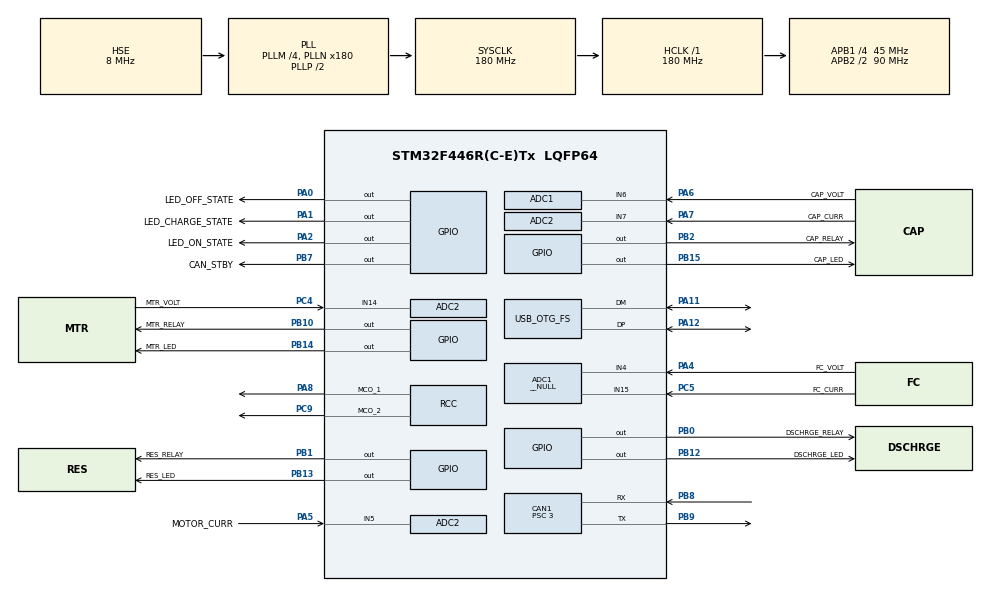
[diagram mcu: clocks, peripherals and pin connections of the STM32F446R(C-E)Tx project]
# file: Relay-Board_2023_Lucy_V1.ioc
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ADC1.Channel-0\#ChannelRegularConversion=ADC_CHANNEL_4
ADC1.Channel-1\#ChannelRegularConversion=ADC_CHANNEL_6
ADC1.Channel-2\#ChannelRegularConversion=ADC_CHANNEL_15
ADC1.ClockPrescaler=ADC_CLOCK_SYNC_PCLK_DIV4
ADC1.ContinuousConvMode=DISABLE
ADC1.DMAContinuousRequests=DISABLE
ADC1.EOCSelection=ADC_EOC_SINGLE_CONV
ADC1.Mode=__NULL
ADC1.NbrOfConversion=3
ADC1.NbrOfConversionFlag=1
ADC1.Rank-0\#ChannelRegularConversion=1
ADC1.Rank-1\#ChannelRegularConversion=2
ADC1.Rank-2\#ChannelRegularConversion=3
ADC1.SamplingTime-0\#ChannelRegularConversion=ADC_SAMPLETIME_480CYCLES
ADC1.SamplingTime-1\#ChannelRegularConversion=ADC_SAMPLETIME_480CYCLES
ADC1.SamplingTime-2\#ChannelRegularConversion=ADC_SAMPLETIME_480CYCLES
ADC1.ScanConvMode=ENABLE
ADC1.master=1
ADC2.Channel-0\#ChannelRegularConversion=ADC_CHANNEL_5
ADC2.Channel-1\#ChannelRegularConversion=ADC_CHANNEL_7
ADC2.Channel-2\#ChannelRegularConversion=ADC_CHANNEL_14
ADC2.ClockPrescaler=ADC_CLOCK_SYNC_PCLK_DIV4
ADC2.ContinuousConvMode=DISABLE
ADC2.NbrOfConversion=3
ADC2.NbrOfConversionFlag=1
ADC2.Rank-0\#ChannelRegularConversion=1
ADC2.Rank-1\#ChannelRegularConversion=2
ADC2.Rank-2\#ChannelRegularConversion=3
ADC2.SamplingTime-0\#ChannelRegularConversion=ADC_SAMPLETIME_3CYCLES
ADC2.SamplingTime-1\#ChannelRegularConversion=ADC_SAMPLETIME_3CYCLES
ADC2.SamplingTime-2\#ChannelRegularConversion=ADC_SAMPLETIME_3CYCLES
ADC2.ScanConvMode=ENABLE
CAN1.BS1=CAN_BS1_10TQ
CAN1.BS2=CAN_BS2_4TQ
CAN1.CalculateBaudRate=1000000
CAN1.CalculateTimeBit=1000
CAN1.CalculateTimeQuantum=66.66666666666666
CAN1.Mode=CAN_MODE_NORMAL
CAN1.Prescaler=3
Dma.ADC1.1.Direction=DMA_PERIPH_TO_MEMORY
Dma.ADC1.1.FIFOMode=DMA_FIFOMODE_DISABLE
Dma.ADC1.1.Instance=DMA2_Stream0
Dma.ADC1.1.MemDataAlignment=DMA_MDATAALIGN_HALFWORD
Dma.ADC1.1.MemInc=DMA_MINC_ENABLE
Dma.ADC1.1.Mode=DMA_CIRCULAR
Dma.ADC1.1.PeriphDataAlignment=DMA_PDATAALIGN_HALFWORD
Dma.ADC1.1.PeriphInc=DMA_PINC_DISABLE
Dma.ADC1.1.Priority=DMA_PRIORITY_LOW
Dma.ADC2.0.Direction=DMA_PERIPH_TO_MEMORY
Dma.ADC2.0.FIFOMode=DMA_FIFOMODE_DISABLE
Dma.ADC2.0.Instance=DMA2_Stream2
Dma.ADC2.0.MemDataAlignment=DMA_MDATAALIGN_HALFWORD
Dma.ADC2.0.MemInc=DMA_MINC_ENABLE
Dma.ADC2.0.Mode=DMA_CIRCULAR
Dma.ADC2.0.PeriphDataAlignment=DMA_PDATAALIGN_HALFWORD
Dma.ADC2.0.PeriphInc=DMA_PINC_DISABLE
Dma.ADC2.0.Priority=DMA_PRIORITY_LOW
Dma.Request0=ADC2
Dma.Request1=ADC1
FREERTOS.BinarySemaphores01=canMsgReceivedSem,Dynamic,NULL
FREERTOS.HEAP_NUMBER=4
FREERTOS.Queues01=canRxRtrMsgQueue,128,uint32_t,0,Static,canRxRtrMsgQueueBuffer,canRxRtrMsgQueueControlBlock;canRxDataMsgQueue,16,uint16_t,0,Static,canRxDataMsgQueueBuffer,canRxDataMsgQueueControlBlock
FREERTOS.Tasks01=RelayTask,24,256,StartRelayTask,Default,NULL,Static,RelayTaskBuffer,RelayTaskControlBlock;CanRtrTask,24,256,StartCanRtrTask,Default,NULL,Static,CanRtrTaskBuffer,CanRtrTaskControlBlock;AdcTask,24,256,StartAdcTask,Default,NULL,Static,AdcTaskBuffer,AdcTaskControlBlock;IndicateLedTask,28,256,StartIndicateLedTask,Default,NULL,Static,IndicateLedTaskBuffer,IndicateLedTaskControlBlock;CanDataTask,28,256,StartCanDataTask,Default,NULL,Static,CanDataTaskBuffer,CanDataTaskControlBlock
FREERTOS.configENABLE_FPU=1
FREERTOS.configUSE_NEWLIB_REENTRANT=1
Mcu.Family=STM32F4
Mcu.Name=STM32F446R(C-E)Tx
Mcu.Package=LQFP64
NVIC.ADC_IRQn=true\:5\:0\:false\:false\:true\:true\:true\:true\:true
NVIC.CAN1_RX0_IRQn=true\:5\:0\:false\:false\:true\:true\:true\:true\:true
NVIC.CAN1_RX1_IRQn=true\:5\:0\:false\:false\:true\:true\:true\:true\:true
NVIC.CAN1_TX_IRQn=true\:5\:0\:false\:false\:true\:true\:true\:true\:true
NVIC.DMA2_Stream0_IRQn=true\:5\:0\:false\:false\:true\:true\:false\:true\:true
NVIC.DMA2_Stream2_IRQn=true\:5\:0\:false\:false\:true\:true\:false\:true\:true
NVIC.OTG_FS_IRQn=true\:5\:0\:false\:false\:true\:true\:false\:true\:true
NVIC.PriorityGroup=NVIC_PRIORITYGROUP_4
NVIC.TIM1_UP_TIM10_IRQn=true\:15\:0\:false\:false\:true\:false\:false\:true\:true
NVIC.TimeBase=TIM1_UP_TIM10_IRQn
NVIC.TimeBaseIP=TIM1
PA0-WKUP.GPIO_Label=LED_OFF_STATE
PA0-WKUP.Signal=GPIO_Output
PA1.GPIO_Label=LED_CHARGE_STATE
PA1.Signal=GPIO_Output
PA11.Mode=Device_Only
PA11.Signal=USB_OTG_FS_DM
PA12.Mode=Device_Only
PA12.Signal=USB_OTG_FS_DP
PA13.Mode=Serial_Wire
PA13.Signal=SYS_JTMS-SWDIO
PA14.Mode=Serial_Wire
PA14.Signal=SYS_JTCK-SWCLK
PA2.GPIO_Label=LED_ON_STATE
PA2.Signal=GPIO_Output
PA4.GPIO_Label=FC_VOLT
PA4.Signal=ADCx_IN4
PA5.GPIO_Label=MOTOR_CURR
PA5.Signal=ADCx_IN5
PA6.GPIO_Label=CAP_VOLT
PA6.Signal=ADCx_IN6
PA7.GPIO_Label=CAP_CURR
PA7.Signal=ADCx_IN7
PA8.Mode=Clock-out-1
PA8.Signal=RCC_MCO_1
PB0.GPIO_Label=DSCHRGE_RELAY
PB0.Signal=GPIO_Output
PB1.GPIO_Label=RES_RELAY
PB1.Signal=GPIO_Output
PB10.GPIO_Label=MTR_RELAY
PB10.Signal=GPIO_Output
PB12.GPIO_Label=DSCHRGE_LED
PB12.Signal=GPIO_Output
PB13.GPIO_Label=RES_LED
PB13.Signal=GPIO_Output
PB14.GPIO_Label=MTR_LED
PB14.Signal=GPIO_Output
PB15.GPIO_Label=CAP_LED
PB15.Signal=GPIO_Output
PB2.GPIO_Label=CAP_RELAY
PB2.Signal=GPIO_Output
PB7.GPIO_Label=CAN_STBY
PB7.Signal=GPIO_Output
PB8.GPIO_PuPd=GPIO_PULLUP
PB8.Mode=CAN_Activate
PB8.Signal=CAN1_RX
PB9.GPIO_PuPd=GPIO_NOPULL
PB9.Mode=CAN_Activate
PB9.Signal=CAN1_TX
PC4.GPIO_Label=MTR_VOLT
PC4.Signal=ADCx_IN14
PC5.GPIO_Label=FC_CURR
PC5.Signal=ADCx_IN15
PC9.Mode=Clock-out-2
PC9.Signal=RCC_MCO_2
PH0-OSC_IN.Mode=HSE-External-Clock-Source
PH0-OSC_IN.Signal=RCC_OSC_IN
PH1-OSC_OUT.Mode=HSE-External-Clock-Source
PH1-OSC_OUT.Signal=RCC_OSC_OUT
ProjectManager.HeapSize=0x200
ProjectManager.StackSize=0x400
ProjectManager.TargetToolchain=Makefile
RCC.AHBFreq_Value=180000000
RCC.APB1CLKDivider=RCC_HCLK_DIV4
RCC.APB1Freq_Value=45000000
RCC.APB1TimFreq_Value=90000000
RCC.APB2CLKDivider=RCC_HCLK_DIV2
RCC.APB2Freq_Value=90000000
RCC.APB2TimFreq_Value=180000000
RCC.CortexFreq_Value=180000000
RCC.HCLKFreq_Value=180000000
RCC.HSE_VALUE=8000000
RCC.PLLM=4
RCC.PLLN=180
RCC.PLLQ=5
RCC.PLLSAIM=4
RCC.PLLSAIN=96
RCC.PLLSAIP=RCC_PLLSAIP_DIV4
RCC.RCC_MCO1Source=RCC_MCO1SOURCE_HSE
RCC.RCC_MCODiv2=RCC_MCODIV_5
RCC.SYSCLKFreq_VALUE=180000000
RCC.SYSCLKSource=RCC_SYSCLKSOURCE_PLLCLK
RCC.USBCLockSelection=RCC_CLK48CLKSOURCE_PLLSAIP
RCC.USBFreq_Value=48000000
RCC.VCOOutputFreq_Value=360000000
SH.ADCx_IN14.0=ADC2_IN14,IN14
SH.ADCx_IN15.0=ADC1_IN15,IN15
SH.ADCx_IN4.0=ADC1_IN4,IN4
SH.ADCx_IN5.0=ADC2_IN5,IN5
SH.ADCx_IN6.0=ADC1_IN6,IN6
SH.ADCx_IN7.0=ADC2_IN7,IN7
USB_DEVICE.CLASS_NAME_FS=CDC
USB_DEVICE.VirtualMode-CDC_FS=Cdc
USB_DEVICE.VirtualModeFS=Cdc_FS
USB_OTG_FS.VirtualMode=Device_Only
VP_FREERTOS_VS_CMSIS_V2.Mode=CMSIS_V2
VP_SYS_VS_tim1.Mode=TIM1
VP_USB_DEVICE_VS_USB_DEVICE_CDC_FS.Mode=CDC_FS
board=custom

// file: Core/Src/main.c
/* USER CODE BEGIN Header */
/**
 ******************************************************************************
 * @file           : main.c
 * @brief          : Main program body
 ******************************************************************************
 * @attention
 *
 * Copyright (c) 2024 STMicroelectronics.
 * All rights reserved.
 *
 * This software is licensed under terms that can be found in the LICENSE file
 * in the root directory of this software component.
 * If no LICENSE file comes with this software, it is provided AS-IS.
 *
 ******************************************************************************
 */
/* USER CODE END Header */
#include "main.h"
#include "cmsis_os.h"
#include "cmsis_os2.h"
#include "stm32f4xx_hal_def.h"
#include "usb_device.h"

/* USER CODE BEGIN Includes */
#include "canid.h"
#include "usbd_cdc_if.h"
#include <stdint.h>
/* USER CODE END Includes */

typedef StaticTask_t osStaticThreadDef_t;
typedef StaticQueue_t osStaticMessageQDef_t;
/* USER CODE BEGIN PTD */
typedef enum {
  ALL_RELAY_OFF = 0x00,
  CAP_RELAY = 0x01,
  RES_RELAY = 0x02,
  DSCHRGE_RELAY = 0x04,
  MTR_RELAY = 0x08,
} relayBit_t;

typedef enum {
  RELAY_STBY = ALL_RELAY_OFF,
  RELAY_STRTP = RES_RELAY | DSCHRGE_RELAY,
  RELAY_CHRGE = RES_RELAY,
  RELAY_RUN = CAP_RELAY | DSCHRGE_RELAY | MTR_RELAY,
} rbState_t;

typedef struct {
  float fc_volt;
  float fc_curr;
  float mtr_volt;
  float mtr_curr;
  float cap_volt;
  float cap_curr;
} rbData_t;

typedef struct {
  uint8_t H2_OK;
} canData_t;

/* USER CODE END PTD */

/* USER CODE BEGIN PD */
#define CAN_MESSAGE_SENT_TIMEOUT_MS 500
#define CAN_ADD_TX_TIMEOUT_MS 500

#define FULL_CAP_CHARGE_V 20

#define CAN_TX_MAILBOX_NONE 0x00000000U // Remove reference to tx mailbox
/* USER CODE END PD */

ADC_HandleTypeDef hadc1;
ADC_HandleTypeDef hadc2;
DMA_HandleTypeDef hdma_adc1;
DMA_HandleTypeDef hdma_adc2;

CAN_HandleTypeDef hcan1;

/* Definitions for RelayTask */
osThreadId_t RelayTaskHandle;
uint32_t RelayTaskBuffer[256];
osStaticThreadDef_t RelayTaskControlBlock;
const osThreadAttr_t RelayTask_attributes = {
    .name = "RelayTask",
    .cb_mem = &RelayTaskControlBlock,
    .cb_size = sizeof(RelayTaskControlBlock),
    .stack_mem = &RelayTaskBuffer[0],
    .stack_size = sizeof(RelayTaskBuffer),
    .priority = (osPriority_t)osPriorityNormal,
};
/* Definitions for CanRtrTask */
osThreadId_t CanRtrTaskHandle;
uint32_t CanRtrTaskBuffer[256];
osStaticThreadDef_t CanRtrTaskControlBlock;
const osThreadAttr_t CanRtrTask_attributes = {
    .name = "CanRtrTask",
    .cb_mem = &CanRtrTaskControlBlock,
    .cb_size = sizeof(CanRtrTaskControlBlock),
    .stack_mem = &CanRtrTaskBuffer[0],
    .stack_size = sizeof(CanRtrTaskBuffer),
    .priority = (osPriority_t)osPriorityNormal,
};
/* Definitions for AdcTask */
osThreadId_t AdcTaskHandle;
uint32_t AdcTaskBuffer[256];
osStaticThreadDef_t AdcTaskControlBlock;
const osThreadAttr_t AdcTask_attributes = {
    .name = "AdcTask",
    .cb_mem = &AdcTaskControlBlock,
    .cb_size = sizeof(AdcTaskControlBlock),
    .stack_mem = &AdcTaskBuffer[0],
    .stack_size = sizeof(AdcTaskBuffer),
    .priority = (osPriority_t)osPriorityNormal,
};
/* Definitions for IndicateLedTask */
osThreadId_t IndicateLedTaskHandle;
uint32_t IndicateLedTaskBuffer[256];
osStaticThreadDef_t IndicateLedTaskControlBlock;
const osThreadAttr_t IndicateLedTask_attributes = {
    .name = "IndicateLedTask",
    .cb_mem = &IndicateLedTaskControlBlock,
    .cb_size = sizeof(IndicateLedTaskControlBlock),
    .stack_mem = &IndicateLedTaskBuffer[0],
    .stack_size = sizeof(IndicateLedTaskBuffer),
    .priority = (osPriority_t)osPriorityNormal4,
};
/* Definitions for CanDataTask */
osThreadId_t CanDataTaskHandle;
uint32_t CanDataTaskBuffer[256];
osStaticThreadDef_t CanDataTaskControlBlock;
const osThreadAttr_t CanDataTask_attributes = {
    .name = "CanDataTask",
    .cb_mem = &CanDataTaskControlBlock,
    .cb_size = sizeof(CanDataTaskControlBlock),
    .stack_mem = &CanDataTaskBuffer[0],
    .stack_size = sizeof(CanDataTaskBuffer),
    .priority = (osPriority_t)osPriorityNormal4,
};
/* Definitions for canRxRtrMsgQueue */
osMessageQueueId_t canRxRtrMsgQueueHandle;
uint8_t canRxRtrMsgQueueBuffer[128 * sizeof(uint32_t)];
osStaticMessageQDef_t canRxRtrMsgQueueControlBlock;
const osMessageQueueAttr_t canRxRtrMsgQueue_attributes = {
    .name = "canRxRtrMsgQueue",
    .cb_mem = &canRxRtrMsgQueueControlBlock,
    .cb_size = sizeof(canRxRtrMsgQueueControlBlock),
    .mq_mem = &canRxRtrMsgQueueBuffer,
    .mq_size = sizeof(canRxRtrMsgQueueBuffer)};
/* Definitions for canRxDataMsgQueue */
osMessageQueueId_t canRxDataMsgQueueHandle;
uint8_t canRxDataMsgQueueBuffer[16 * sizeof(uint16_t)];
osStaticMessageQDef_t canRxDataMsgQueueControlBlock;
const osMessageQueueAttr_t canRxDataMsgQueue_attributes = {
    .name = "canRxDataMsgQueue",
    .cb_mem = &canRxDataMsgQueueControlBlock,
    .cb_size = sizeof(canRxDataMsgQueueControlBlock),
    .mq_mem = &canRxDataMsgQueueBuffer,
    .mq_size = sizeof(canRxDataMsgQueueBuffer)};
/* Definitions for canMsgReceivedSem */
osSemaphoreId_t canMsgReceivedSemHandle;
const osSemaphoreAttr_t canMsgReceivedSem_attributes = {
    .name = "canMsgReceivedSem"};
/* USER CODE BEGIN PV */
rbState_t rb_state = RELAY_STBY;
rbData_t relay_board_data;

volatile uint16_t adc1Results[3];
volatile uint16_t adc2Results[3];

CAN_RxHeaderTypeDef RxHeader;
uint8_t RxData[8];
uint32_t TxMailboxCanTask;
/* USER CODE END PV */

void SystemClock_Config(void);
static void MX_GPIO_Init(void);
static void MX_DMA_Init(void);
static void MX_CAN1_Init(void);
static void MX_ADC1_Init(void);
static void MX_ADC2_Init(void);
void StartRelayTask(void *argument);
void StartCanRtrTask(void *argument);
void StartAdcTask(void *argument);
void StartIndicateLedTask(void *argument);
void StartCanDataTask(void *argument);

/* USER CODE BEGIN PFP */
int _write(int file, char *ptr, int len) {
  CDC_Transmit_FS((uint8_t *)ptr, (uint16_t)len);
  return len;
}

/**
 * The canRxMsqQueue is 32 items each slot with 4 bytes
 * in it. The StdID is a uint32_t according to HAL and the
 * RxData is 8 items of 1 byte each. Thus osMessageQueuePut
 * will add 4 items from RxData when you pass the pointer
 * to it.
 */
void HAL_CAN_RxFifo0MsgPendingCallback(CAN_HandleTypeDef *hcan) {
  HAL_CAN_GetRxMessage(hcan, CAN_RX_FIFO0, &RxHeader, RxData);
  if (RxHeader.RTR == CAN_RTR_REMOTE) {
    osMessageQueuePut(canRxRtrMsgQueueHandle, &RxHeader.StdId, 0U, 0UL);
  } else {
    osMessageQueuePut(canRxDataMsgQueueHandle, &RxHeader.StdId, 0U, 0UL);
    if (RxHeader.DLC <= 4UL) {
      osMessageQueuePut(canRxDataMsgQueueHandle, RxData, 0U, 0UL);
    } else {
      osMessageQueuePut(canRxDataMsgQueueHandle, RxData, 0U, 0UL);
      osMessageQueuePut(canRxDataMsgQueueHandle, &RxData[4], 0U, 0UL);
    }
  }
}

// void HAL_CAN_RxFifo1MsgPendingCallback(CAN_HandleTypeDef *hcan) {
//   HAL_CAN_GetRxMessage(hcan, CAN_RX_FIFO1, &RxHeader, RxData);
//   osMessageQueuePut(canRxMsgQueueHandle, &RxHeader.StdId, 0U, 0UL);
//   // need condition for either 4 byte or 8 byte
//   if (RxHeader.DLC == 0UL) {
//     // Data request, don't add anything else to queue
//   } else if (RxHeader.DLC <= 4UL) {
//     osMessageQueuePut(canRxMsgQueueHandle, RxData, 0U, 0UL);
//   } else {
//     osMessageQueuePut(canRxMsgQueueHandle, RxData, 0U, 0UL);
//     osMessageQueuePut(canRxMsgQueueHandle, RxData + 4, 0U, 0UL);
//   }
// }

/* Transmit Completed Callbacks for Message Sent Confirmations */
void HAL_CAN_TxMailbox0CompleteCallback(CAN_HandleTypeDef *hcan) {
  if (TxMailboxCanTask == CAN_TX_MAILBOX0) {
    osSemaphoreRelease(canMsgReceivedSemHandle);
    TxMailboxCanTask = CAN_TX_MAILBOX_NONE;
  }
}
void HAL_CAN_TxMailbox1CompleteCallback(CAN_HandleTypeDef *hcan) {
  if (TxMailboxCanTask == CAN_TX_MAILBOX1) {
    osSemaphoreRelease(canMsgReceivedSemHandle);
    TxMailboxCanTask = CAN_TX_MAILBOX_NONE;
  }
}
void HAL_CAN_TxMailbox2CompleteCallback(CAN_HandleTypeDef *hcan) {
  if (TxMailboxCanTask == CAN_TX_MAILBOX2) {
    osSemaphoreRelease(canMsgReceivedSemHandle);
    TxMailboxCanTask = CAN_TX_MAILBOX_NONE;
  }
}

// Counter for both DMA conversions to be Completed
// Utilized in ADC Thread below
uint32_t conversion_completed = 0;

void HAL_ADC_ConvCpltCallback(ADC_HandleTypeDef *hadc) {
  if (hadc->Instance == hadc1.Instance) {
    conversion_completed++;
  }
  if (hadc->Instance == hadc2.Instance) {
    conversion_completed++;
  }
}

HAL_StatusTypeDef HAL_CAN_SafeAddTxMessage(uint8_t *msg, uint32_t msg_id,
                                           uint32_t msg_length,
                                           uint32_t *TxMailbox, uint32_t rtr) {
  uint32_t fc_tick;
  HAL_StatusTypeDef hal_stat;
  CAN_TxHeaderTypeDef TxHeader;

  // These will never change
  TxHeader.IDE = CAN_ID_STD;
  TxHeader.ExtId = 0;
  TxHeader.TransmitGlobalTime = DISABLE;

  // User will give us this information
  TxHeader.RTR = rtr;
  TxHeader.StdId = msg_id;
  TxHeader.DLC = msg_length;

  // Start a timer to check timeout conditions
  fc_tick = HAL_GetTick();

  /* Try to add a Tx message. Returns HAL_ERROR if there are no avail
   * mailboxes or if the peripheral is not initialized. */
  do {
    hal_stat = HAL_CAN_AddTxMessage(&hcan1, &TxHeader, msg, TxMailbox);
  } while (hal_stat != HAL_OK &&
           ((HAL_GetTick() - fc_tick) < CAN_ADD_TX_TIMEOUT_MS));

  return hal_stat;
}
/* USER CODE END PFP */

int main(void) {

  /* MCU Configuration--------------------------------------------------------*/

  /* Reset of all peripherals, Initializes the Flash interface and the Systick.
   */
  HAL_Init();

  /* Configure the system clock */
  SystemClock_Config();

  /* Initialize all configured peripherals */
  MX_GPIO_Init();
  MX_DMA_Init();
  MX_CAN1_Init();
  MX_ADC1_Init();
  MX_ADC2_Init();

  /* Init scheduler */
  osKernelInitialize();

  /* Create the semaphores(s) */
  /* creation of canMsgReceivedSem */
  canMsgReceivedSemHandle = osSemaphoreNew(1, 0, &canMsgReceivedSem_attributes);

  /* Create the queue(s) */
  /* creation of canRxRtrMsgQueue */
  canRxRtrMsgQueueHandle =
      osMessageQueueNew(128, sizeof(uint32_t), &canRxRtrMsgQueue_attributes);

  /* creation of canRxDataMsgQueue */
  canRxDataMsgQueueHandle =
      osMessageQueueNew(16, sizeof(uint16_t), &canRxDataMsgQueue_attributes);

  /* Create the thread(s) */
  /* creation of RelayTask */
  RelayTaskHandle = osThreadNew(StartRelayTask, NULL, &RelayTask_attributes);

  /* creation of CanRtrTask */
  CanRtrTaskHandle = osThreadNew(StartCanRtrTask, NULL, &CanRtrTask_attributes);

  /* creation of AdcTask */
  AdcTaskHandle = osThreadNew(StartAdcTask, NULL, &AdcTask_attributes);

  /* creation of IndicateLedTask */
  IndicateLedTaskHandle =
     osThreadNew(StartIndicateLedTask, NULL, &IndicateLedTask_attributes);

  /* creation of CanDataTask */
  CanDataTaskHandle =
      osThreadNew(StartCanDataTask, NULL, &CanDataTask_attributes);

  /* Start scheduler */
  osKernelStart();

  /* We should never get here as control is now taken by the scheduler */
  /* Infinite loop */
  while (1) {

  }
}

void SystemClock_Config(void) {
  RCC_OscInitTypeDef RCC_OscInitStruct = {0};
  RCC_ClkInitTypeDef RCC_ClkInitStruct = {0};

  /** Configure the main internal regulator output voltage
   */
  __HAL_RCC_PWR_CLK_ENABLE();
  __HAL_PWR_VOLTAGESCALING_CONFIG(PWR_REGULATOR_VOLTAGE_SCALE1);

  /** Initializes the RCC Oscillators according to the specified parameters
   * in the RCC_OscInitTypeDef structure.
   */
  RCC_OscInitStruct.OscillatorType = RCC_OSCILLATORTYPE_HSE;
  RCC_OscInitStruct.HSEState = RCC_HSE_BYPASS;
  RCC_OscInitStruct.PLL.PLLState = RCC_PLL_ON;
  RCC_OscInitStruct.PLL.PLLSource = RCC_PLLSOURCE_HSE;
  RCC_OscInitStruct.PLL.PLLM = 4;
  RCC_OscInitStruct.PLL.PLLN = 180;
  RCC_OscInitStruct.PLL.PLLP = RCC_PLLP_DIV2;
  RCC_OscInitStruct.PLL.PLLQ = 5;
  RCC_OscInitStruct.PLL.PLLR = 2;
  if (HAL_RCC_OscConfig(&RCC_OscInitStruct) != HAL_OK) {
    Error_Handler();
  }

  /** Activate the Over-Drive mode
   */
  if (HAL_PWREx_EnableOverDrive() != HAL_OK) {
    Error_Handler();
  }

  /** Initializes the CPU, AHB and APB buses clocks
   */
  RCC_ClkInitStruct.ClockType = RCC_CLOCKTYPE_HCLK | RCC_CLOCKTYPE_SYSCLK |
                                RCC_CLOCKTYPE_PCLK1 | RCC_CLOCKTYPE_PCLK2;
  RCC_ClkInitStruct.SYSCLKSource = RCC_SYSCLKSOURCE_PLLCLK;
  RCC_ClkInitStruct.AHBCLKDivider = RCC_SYSCLK_DIV1;
  RCC_ClkInitStruct.APB1CLKDivider = RCC_HCLK_DIV4;
  RCC_ClkInitStruct.APB2CLKDivider = RCC_HCLK_DIV2;

  if (HAL_RCC_ClockConfig(&RCC_ClkInitStruct, FLASH_LATENCY_5) != HAL_OK) {
    Error_Handler();
  }
  HAL_RCC_MCOConfig(RCC_MCO1, RCC_MCO1SOURCE_HSE, RCC_MCODIV_1);
  HAL_RCC_MCOConfig(RCC_MCO2, RCC_MCO2SOURCE_SYSCLK, RCC_MCODIV_5);
}

static void MX_ADC1_Init(void) {

  ADC_ChannelConfTypeDef sConfig = {0};

  /** Configure the global features of the ADC (Clock, Resolution, Data
   * Alignment and number of conversion)
   */
  hadc1.Instance = ADC1;
  hadc1.Init.ClockPrescaler = ADC_CLOCK_SYNC_PCLK_DIV4;
  hadc1.Init.Resolution = ADC_RESOLUTION_12B;
  hadc1.Init.ScanConvMode = ENABLE;
  hadc1.Init.ContinuousConvMode = DISABLE;
  hadc1.Init.DiscontinuousConvMode = DISABLE;
  hadc1.Init.ExternalTrigConvEdge = ADC_EXTERNALTRIGCONVEDGE_NONE;
  hadc1.Init.ExternalTrigConv = ADC_SOFTWARE_START;
  hadc1.Init.DataAlign = ADC_DATAALIGN_RIGHT;
  hadc1.Init.NbrOfConversion = 3;
  hadc1.Init.DMAContinuousRequests = DISABLE;
  hadc1.Init.EOCSelection = ADC_EOC_SINGLE_CONV;
  if (HAL_ADC_Init(&hadc1) != HAL_OK) {
    Error_Handler();
  }

  /** Configure for the selected ADC regular channel its corresponding rank in
   * the sequencer and its sample time.
   */
  sConfig.Channel = ADC_CHANNEL_4;
  sConfig.Rank = 1;
  sConfig.SamplingTime = ADC_SAMPLETIME_480CYCLES;
  if (HAL_ADC_ConfigChannel(&hadc1, &sConfig) != HAL_OK) {
    Error_Handler();
  }

  /** Configure for the selected ADC regular channel its corresponding rank in
   * the sequencer and its sample time.
   */
  sConfig.Channel = ADC_CHANNEL_6;
  sConfig.Rank = 2;
  if (HAL_ADC_ConfigChannel(&hadc1, &sConfig) != HAL_OK) {
    Error_Handler();
  }

  /** Configure for the selected ADC regular channel its corresponding rank in
   * the sequencer and its sample time.
   */
  sConfig.Channel = ADC_CHANNEL_15;
  sConfig.Rank = 3;
  if (HAL_ADC_ConfigChannel(&hadc1, &sConfig) != HAL_OK) {
    Error_Handler();
  }
}

static void MX_ADC2_Init(void) {

  ADC_ChannelConfTypeDef sConfig = {0};

  /** Configure the global features of the ADC (Clock, Resolution, Data
   * Alignment and number of conversion)
   */
  hadc2.Instance = ADC2;
  hadc2.Init.ClockPrescaler = ADC_CLOCK_SYNC_PCLK_DIV4;
  hadc2.Init.Resolution = ADC_RESOLUTION_12B;
  hadc2.Init.ScanConvMode = ENABLE;
  hadc2.Init.ContinuousConvMode = DISABLE;
  hadc2.Init.DiscontinuousConvMode = DISABLE;
  hadc2.Init.ExternalTrigConvEdge = ADC_EXTERNALTRIGCONVEDGE_NONE;
  hadc2.Init.ExternalTrigConv = ADC_SOFTWARE_START;
  hadc2.Init.DataAlign = ADC_DATAALIGN_RIGHT;
  hadc2.Init.NbrOfConversion = 3;
  hadc2.Init.DMAContinuousRequests = DISABLE;
  hadc2.Init.EOCSelection = ADC_EOC_SINGLE_CONV;
  if (HAL_ADC_Init(&hadc2) != HAL_OK) {
    Error_Handler();
  }

  /** Configure for the selected ADC regular channel its corresponding rank in
   * the sequencer and its sample time.
   */
  sConfig.Channel = ADC_CHANNEL_5;
  sConfig.Rank = 1;
  sConfig.SamplingTime = ADC_SAMPLETIME_3CYCLES;
  if (HAL_ADC_ConfigChannel(&hadc2, &sConfig) != HAL_OK) {
    Error_Handler();
  }

  /** Configure for the selected ADC regular channel its corresponding rank in
   * the sequencer and its sample time.
   */
  sConfig.Channel = ADC_CHANNEL_7;
  sConfig.Rank = 2;
  if (HAL_ADC_ConfigChannel(&hadc2, &sConfig) != HAL_OK) {
    Error_Handler();
  }

  /** Configure for the selected ADC regular channel its corresponding rank in
   * the sequencer and its sample time.
   */
  sConfig.Channel = ADC_CHANNEL_14;
  sConfig.Rank = 3;
  if (HAL_ADC_ConfigChannel(&hadc2, &sConfig) != HAL_OK) {
    Error_Handler();
  }
}

static void MX_CAN1_Init(void) {

  hcan1.Instance = CAN1;
  hcan1.Init.Prescaler = 3;
  hcan1.Init.Mode = CAN_MODE_NORMAL;
  hcan1.Init.SyncJumpWidth = CAN_SJW_1TQ;
  hcan1.Init.TimeSeg1 = CAN_BS1_10TQ;
  hcan1.Init.TimeSeg2 = CAN_BS2_4TQ;
  hcan1.Init.TimeTriggeredMode = DISABLE;
  hcan1.Init.AutoBusOff = DISABLE;
  hcan1.Init.AutoWakeUp = DISABLE;
  hcan1.Init.AutoRetransmission = DISABLE;
  hcan1.Init.ReceiveFifoLocked = DISABLE;
  hcan1.Init.TransmitFifoPriority = DISABLE;
  if (HAL_CAN_Init(&hcan1) != HAL_OK) {
    Error_Handler();
  }
  /* USER CODE BEGIN CAN1_Init 2 */
  CAN_FilterTypeDef sFilterConfig;

  // Accept 0x003
  sFilterConfig.FilterBank = 0;
  sFilterConfig.FilterMode = CAN_FILTERMODE_IDMASK;
  sFilterConfig.FilterScale = CAN_FILTERSCALE_32BIT;
  sFilterConfig.FilterIdHigh = 0x003 << 5;
  sFilterConfig.FilterIdLow = 0x0000;
  sFilterConfig.FilterMaskIdHigh = 0x7FF << 5;
  sFilterConfig.FilterMaskIdLow = 0x0000;
  sFilterConfig.FilterFIFOAssignment = CAN_RX_FIFO0;
  sFilterConfig.FilterActivation = ENABLE;
  if (HAL_CAN_ConfigFilter(&hcan1, &sFilterConfig) != HAL_OK) {
    /* Filter configuration Error */
    Error_Handler();
  }

  // Accept 0x101 to 0x103
  sFilterConfig.FilterBank = 1;
  sFilterConfig.FilterMode = CAN_FILTERMODE_IDMASK;
  sFilterConfig.FilterScale = CAN_FILTERSCALE_32BIT;
  sFilterConfig.FilterIdHigh = 0x101 << 5;
  sFilterConfig.FilterIdLow = 0x0000;
  sFilterConfig.FilterMaskIdHigh = 0x7FC << 5;
  sFilterConfig.FilterMaskIdLow = 0x0000;
  sFilterConfig.FilterFIFOAssignment = CAN_RX_FIFO0;
  sFilterConfig.FilterActivation = ENABLE;
  if (HAL_CAN_ConfigFilter(&hcan1, &sFilterConfig) != HAL_OK) {
    /* Filter configuration Error */
    Error_Handler();
  }

  if (HAL_CAN_Start(&hcan1) != HAL_OK) {
    /* Start Error */
    Error_Handler();
  }

  /* USER CODE END CAN1_Init 2 */
}

static void MX_DMA_Init(void) {

  /* DMA controller clock enable */
  __HAL_RCC_DMA2_CLK_ENABLE();

  /* DMA interrupt init */
  /* DMA2_Stream0_IRQn interrupt configuration */
  HAL_NVIC_SetPriority(DMA2_Stream0_IRQn, 5, 0);
  HAL_NVIC_EnableIRQ(DMA2_Stream0_IRQn);
  /* DMA2_Stream2_IRQn interrupt configuration */
  HAL_NVIC_SetPriority(DMA2_Stream2_IRQn, 5, 0);
  HAL_NVIC_EnableIRQ(DMA2_Stream2_IRQn);
}

static void MX_GPIO_Init(void) {
  GPIO_InitTypeDef GPIO_InitStruct = {0};

  /* GPIO Ports Clock Enable */
  __HAL_RCC_GPIOC_CLK_ENABLE();
  __HAL_RCC_GPIOH_CLK_ENABLE();
  __HAL_RCC_GPIOA_CLK_ENABLE();
  __HAL_RCC_GPIOB_CLK_ENABLE();
  __HAL_RCC_GPIOD_CLK_ENABLE();

  /*Configure GPIO pin Output Level */
  HAL_GPIO_WritePin(GPIOA,
                    LED_OFF_STATE_Pin | LED_CHARGE_STATE_Pin | LED_ON_STATE_Pin,
                    GPIO_PIN_RESET);

  /*Configure GPIO pin Output Level */
  HAL_GPIO_WritePin(GPIOB,
                    DSCHRGE_RELAY_Pin | RES_RELAY_Pin | CAP_RELAY_Pin |
                        MTR_RELAY_Pin | DSCHRGE_LED_Pin | RES_LED_Pin |
                        MTR_LED_Pin | CAP_LED_Pin | CAN_STBY_Pin,
                    GPIO_PIN_RESET);

  /*Configure GPIO pins : PC13 PC14 PC15 PC0
                           PC1 PC2 PC3 PC6
                           PC7 PC8 PC10 PC11
                           PC12 */
  GPIO_InitStruct.Pin = GPIO_PIN_13 | GPIO_PIN_14 | GPIO_PIN_15 | GPIO_PIN_0 |
                        GPIO_PIN_1 | GPIO_PIN_2 | GPIO_PIN_3 | GPIO_PIN_6 |
                        GPIO_PIN_7 | GPIO_PIN_8 | GPIO_PIN_10 | GPIO_PIN_11 |
                        GPIO_PIN_12;
  GPIO_InitStruct.Mode = GPIO_MODE_ANALOG;
  GPIO_InitStruct.Pull = GPIO_NOPULL;
  HAL_GPIO_Init(GPIOC, &GPIO_InitStruct);

  /*Configure GPIO pins : LED_OFF_STATE_Pin LED_CHARGE_STATE_Pin
   * LED_ON_STATE_Pin */
  GPIO_InitStruct.Pin =
      LED_OFF_STATE_Pin | LED_CHARGE_STATE_Pin | LED_ON_STATE_Pin;
  GPIO_InitStruct.Mode = GPIO_MODE_OUTPUT_PP;
  GPIO_InitStruct.Pull = GPIO_NOPULL;
  GPIO_InitStruct.Speed = GPIO_SPEED_FREQ_LOW;
  HAL_GPIO_Init(GPIOA, &GPIO_InitStruct);

  /*Configure GPIO pins : PA3 PA9 PA10 PA15 */
  GPIO_InitStruct.Pin = GPIO_PIN_3 | GPIO_PIN_9 | GPIO_PIN_10 | GPIO_PIN_15;
  GPIO_InitStruct.Mode = GPIO_MODE_ANALOG;
  GPIO_InitStruct.Pull = GPIO_NOPULL;
  HAL_GPIO_Init(GPIOA, &GPIO_InitStruct);

  /*Configure GPIO pins : DSCHRGE_RELAY_Pin RES_RELAY_Pin CAP_RELAY_Pin
     MTR_RELAY_Pin DSCHRGE_LED_Pin RES_LED_Pin MTR_LED_Pin CAP_LED_Pin
                           CAN_STBY_Pin */
  GPIO_InitStruct.Pin = DSCHRGE_RELAY_Pin | RES_RELAY_Pin | CAP_RELAY_Pin |
                        MTR_RELAY_Pin | DSCHRGE_LED_Pin | RES_LED_Pin |
                        MTR_LED_Pin | CAP_LED_Pin | CAN_STBY_Pin;
  GPIO_InitStruct.Mode = GPIO_MODE_OUTPUT_PP;
  GPIO_InitStruct.Pull = GPIO_NOPULL;
  GPIO_InitStruct.Speed = GPIO_SPEED_FREQ_LOW;
  HAL_GPIO_Init(GPIOB, &GPIO_InitStruct);

  /*Configure GPIO pin : PC9 */
  GPIO_InitStruct.Pin = GPIO_PIN_9;
  GPIO_InitStruct.Mode = GPIO_MODE_AF_PP;
  GPIO_InitStruct.Pull = GPIO_NOPULL;
  GPIO_InitStruct.Speed = GPIO_SPEED_FREQ_LOW;
  GPIO_InitStruct.Alternate = GPIO_AF0_MCO;
  HAL_GPIO_Init(GPIOC, &GPIO_InitStruct);

  /*Configure GPIO pin : PA8 */
  GPIO_InitStruct.Pin = GPIO_PIN_8;
  GPIO_InitStruct.Mode = GPIO_MODE_AF_PP;
  GPIO_InitStruct.Pull = GPIO_NOPULL;
  GPIO_InitStruct.Speed = GPIO_SPEED_FREQ_LOW;
  GPIO_InitStruct.Alternate = GPIO_AF0_MCO;
  HAL_GPIO_Init(GPIOA, &GPIO_InitStruct);

  /*Configure GPIO pin : PD2 */
  GPIO_InitStruct.Pin = GPIO_PIN_2;
  GPIO_InitStruct.Mode = GPIO_MODE_ANALOG;
  GPIO_InitStruct.Pull = GPIO_NOPULL;
  HAL_GPIO_Init(GPIOD, &GPIO_InitStruct);

  /*Configure GPIO pins : PB3 PB4 PB5 PB6 */
  GPIO_InitStruct.Pin = GPIO_PIN_3 | GPIO_PIN_4 | GPIO_PIN_5 | GPIO_PIN_6;
  GPIO_InitStruct.Mode = GPIO_MODE_ANALOG;
  GPIO_InitStruct.Pull = GPIO_NOPULL;
  HAL_GPIO_Init(GPIOB, &GPIO_InitStruct);

}

void StartRelayTask(void *argument) {
  /* init code for USB_DEVICE */
  MX_USB_DEVICE_Init();
  /* USER CODE BEGIN 5 */
  HAL_CAN_ActivateNotification(&hcan1, CAN_IT_RX_FIFO0_MSG_PENDING);
  HAL_CAN_ActivateNotification(&hcan1, CAN_IT_RX_FIFO1_MSG_PENDING);
  HAL_CAN_ActivateNotification(&hcan1, CAN_IT_TX_MAILBOX_EMPTY);
  /* Infinite loop */
  rb_state = RELAY_STBY;
  for (;;) {
    switch (rb_state) {
    case RELAY_STBY:
      HAL_GPIO_WritePin(GPIOB,
                        DSCHRGE_RELAY_Pin | RES_RELAY_Pin | CAP_RELAY_Pin |
                            MTR_RELAY_Pin | DSCHRGE_LED_Pin | RES_LED_Pin |
                            MTR_LED_Pin | CAP_LED_Pin,
                        GPIO_PIN_RESET);
      break;
    case RELAY_STRTP:
      HAL_GPIO_WritePin(
          GPIOB, CAP_RELAY_Pin | MTR_RELAY_Pin | MTR_LED_Pin | CAP_LED_Pin,
          GPIO_PIN_RESET);
      HAL_GPIO_WritePin(GPIOB,
                        DSCHRGE_RELAY_Pin | RES_RELAY_Pin | DSCHRGE_LED_Pin |
                            RES_LED_Pin,
                        GPIO_PIN_SET);
      break;
    case RELAY_CHRGE:
      HAL_GPIO_WritePin(GPIOB,
                        DSCHRGE_RELAY_Pin | CAP_RELAY_Pin | MTR_RELAY_Pin |
                            DSCHRGE_LED_Pin | MTR_LED_Pin | CAP_LED_Pin,
                        GPIO_PIN_RESET);
      HAL_GPIO_WritePin(GPIOB, RES_RELAY_Pin | RES_LED_Pin, GPIO_PIN_SET);
      break;
    case RELAY_RUN:
      HAL_GPIO_WritePin(GPIOB, RES_RELAY_Pin | RES_LED_Pin, GPIO_PIN_RESET);
      HAL_GPIO_WritePin(GPIOB,
                        DSCHRGE_RELAY_Pin | CAP_RELAY_Pin | MTR_RELAY_Pin |
                            DSCHRGE_LED_Pin | MTR_LED_Pin | CAP_LED_Pin,
                        GPIO_PIN_SET);
      break;
    }
    osDelay(10);
  }
  /* USER CODE END 5 */
}

void StartCanRtrTask(void *argument) {
  /* USER CODE BEGIN StartCanRtrTask */
  float floatPackage[2] = {0.0F};
  uint32_t queueData = 0;
  HAL_StatusTypeDef hal_stat;
  /* Infinite loop */
  for (;;) {
    if (osMessageQueueGet(canRxRtrMsgQueueHandle, &queueData, 0U,
                          osWaitForever) == osOK) {
      switch (queueData) {
      case FUEL_CELL_PACKET:
        floatPackage[0] = relay_board_data.fc_volt;
        floatPackage[1] = relay_board_data.fc_curr;
        hal_stat =
            HAL_CAN_SafeAddTxMessage((uint8_t *)&floatPackage, FUEL_CELL_PACKET,
                                     8UL, &TxMailboxCanTask, CAN_RTR_DATA);
        break;
      case MOTOR_PACKET:
        floatPackage[0] = relay_board_data.mtr_volt;
        floatPackage[1] = relay_board_data.mtr_curr;
        hal_stat =
            HAL_CAN_SafeAddTxMessage((uint8_t *)&floatPackage, MOTOR_PACKET,
                                     8UL, &TxMailboxCanTask, CAN_RTR_DATA);
        break;
      case CAPACITOR_PACKET:
        floatPackage[0] = relay_board_data.cap_volt;
        floatPackage[1] = relay_board_data.cap_curr;
        hal_stat =
            HAL_CAN_SafeAddTxMessage((uint8_t *)&floatPackage, CAPACITOR_PACKET,
                                     8UL, &TxMailboxCanTask, CAN_RTR_DATA);
        break;
      default:
        // this shouldn't happen
        break;
      }
    }
    osDelay(10);
  }
  /* USER CODE END StartCanRtrTask */
}

/* USER CODE BEGIN Header_StartAdcTask */
/** @brief Function implementing the AdcTask thread. @param argument: Not used
 * @retval None */
/* USER CODE END Header_StartAdcTask */
void StartAdcTask(void *argument) {
  /* USER CODE BEGIN StartAdcTask */
  const float ADC_VOLT_REF = 3.3F / 4096.0F;
  const float CURR_TRANSFER = 0.667F;
  const float VOLT_TRANSFER = 0.107F;
  const float VOLT_TO_CURR_UNI = 12.5F; // A/V
  const float VOLT_TO_CURR_BI = 25.0F;  // A/V
  /* Infinite loop */
  adc1Results[0] = adc1Results[1] = adc1Results[2] = 0;
  adc2Results[0] = adc2Results[1] = adc2Results[2] = 0;
  HAL_ADC_Start_DMA(&hadc1, (uint32_t *)adc1Results, 3);
  HAL_ADC_Start_DMA(&hadc2, (uint32_t *)adc2Results, 3);

  for (;;) {
    if (conversion_completed == 2) {
      relay_board_data.fc_volt = adc1Results[0] * ADC_VOLT_REF / VOLT_TRANSFER;
      relay_board_data.cap_volt = adc1Results[1] * ADC_VOLT_REF / VOLT_TRANSFER;
      relay_board_data.fc_curr =
          ((adc1Results[2] * ADC_VOLT_REF / CURR_TRANSFER) - 0.5) *
          VOLT_TO_CURR_UNI;
      relay_board_data.mtr_curr =
          ((adc2Results[0] * ADC_VOLT_REF / CURR_TRANSFER) - 0.5) *
          VOLT_TO_CURR_UNI;
      relay_board_data.cap_curr =
          ((adc2Results[1] * ADC_VOLT_REF / CURR_TRANSFER) - 2.5) *
          VOLT_TO_CURR_BI;
      relay_board_data.mtr_volt = adc2Results[2] * ADC_VOLT_REF / VOLT_TRANSFER;

      conversion_completed = 0;

      HAL_ADC_Start_DMA(&hadc1, (uint32_t *)adc1Results, 3);
      HAL_ADC_Start_DMA(&hadc2, (uint32_t *)adc2Results, 3);
    }
    osDelay(10);
  }
  /* USER CODE END StartAdcTask */
}

void StartIndicateLedTask(void *argument) {
  /* USER CODE BEGIN StartIndicateLedTask */
  /* Infinite loop */
  for (;;) {
    switch (rb_state) {
    case RELAY_STBY:
      // Turn off other indicator LEDs
      HAL_GPIO_WritePin(LED_ON_STATE_GPIO_Port, LED_ON_STATE_Pin,
                        GPIO_PIN_RESET);
      HAL_GPIO_WritePin(LED_CHARGE_STATE_GPIO_Port, LED_CHARGE_STATE_Pin,
                        GPIO_PIN_RESET);

      // Flash LED off state
      HAL_GPIO_WritePin(LED_OFF_STATE_GPIO_Port, LED_OFF_STATE_Pin,
                        GPIO_PIN_SET);
      osDelay(500);
      HAL_GPIO_WritePin(LED_OFF_STATE_GPIO_Port, LED_OFF_STATE_Pin,
                        GPIO_PIN_RESET);
      osDelay(500);
      break;
    case RELAY_STRTP:
      // Turn off other indicator LEDs
      HAL_GPIO_WritePin(LED_ON_STATE_GPIO_Port, LED_ON_STATE_Pin,
                        GPIO_PIN_RESET);
      HAL_GPIO_WritePin(LED_CHARGE_STATE_GPIO_Port, LED_CHARGE_STATE_Pin,
                        GPIO_PIN_RESET);

      // Flash faster during startup phase as this section is very short
      HAL_GPIO_WritePin(LED_OFF_STATE_GPIO_Port, LED_OFF_STATE_Pin,
                        GPIO_PIN_SET);
      osDelay(50);
      HAL_GPIO_WritePin(LED_OFF_STATE_GPIO_Port, LED_OFF_STATE_Pin,
                        GPIO_PIN_RESET);
      osDelay(50);
      break;
    case RELAY_CHRGE:
      // Turn off other indicator LEDs
      HAL_GPIO_WritePin(LED_OFF_STATE_GPIO_Port, LED_OFF_STATE_Pin,
                        GPIO_PIN_RESET);
      HAL_GPIO_WritePin(LED_ON_STATE_GPIO_Port, LED_ON_STATE_Pin,
                        GPIO_PIN_RESET);

      // Progressively increase the flashing speed to indicating caps are
      // charging
      if (relay_board_data.cap_volt < 10.0f) {
        HAL_GPIO_WritePin(LED_CHARGE_STATE_GPIO_Port, LED_CHARGE_STATE_Pin,
                          GPIO_PIN_SET);
        osDelay(500 );
        HAL_GPIO_WritePin(LED_CHARGE_STATE_GPIO_Port, LED_CHARGE_STATE_Pin,
                          GPIO_PIN_RESET);
        osDelay(500);
      } else if (relay_board_data.cap_volt < 17.0f) {
        HAL_GPIO_WritePin(LED_CHARGE_STATE_GPIO_Port, LED_CHARGE_STATE_Pin,
                          GPIO_PIN_SET);
        osDelay(250);
        HAL_GPIO_WritePin(LED_CHARGE_STATE_GPIO_Port, LED_CHARGE_STATE_Pin,
                          GPIO_PIN_RESET);
        osDelay(250);
      } else if (relay_board_data.cap_volt <= 25.0f) {

        HAL_GPIO_WritePin(LED_CHARGE_STATE_GPIO_Port, LED_CHARGE_STATE_Pin,
                          GPIO_PIN_SET);
        osDelay(100);
        HAL_GPIO_WritePin(LED_CHARGE_STATE_GPIO_Port, LED_CHARGE_STATE_Pin,
                          GPIO_PIN_RESET);
        osDelay(100);
      }
      break;
    case RELAY_RUN:
      // Turn off other indicator LEDs
      HAL_GPIO_WritePin(LED_CHARGE_STATE_GPIO_Port, LED_CHARGE_STATE_Pin,
                        GPIO_PIN_RESET);
      HAL_GPIO_WritePin(LED_OFF_STATE_GPIO_Port, LED_OFF_STATE_Pin,
                        GPIO_PIN_RESET);

      // Turn on the run LED to indicate driver can apply power
      HAL_GPIO_WritePin(LED_ON_STATE_GPIO_Port, LED_ON_STATE_Pin, GPIO_PIN_SET);
      osDelay(100);
      break;
    default:
      break;
    }
  }
}
/* USER CODE END StartIndicateLedTask */

void StartCanDataTask(void *argument) {
  /* USER CODE BEGIN StartCanDataTask */
  uint32_t queueData = 0;
  HAL_StatusTypeDef hal_stat;

  const uint32_t CONFIRM_RELAY_CONFIG = 1;
  /* Infinite loop */
  for (;;) {
    if (osMessageQueueGet(canRxDataMsgQueueHandle, &queueData, 0U,
                          osWaitForever) == osOK) {
      switch (queueData) {
      case RELAY_CONFIGURATION_PACKET:
        osMessageQueueGet(canRxDataMsgQueueHandle, &queueData, 0U, 10UL);
        rb_state = queueData;
        hal_stat = HAL_CAN_SafeAddTxMessage((uint8_t *)&CONFIRM_RELAY_CONFIG,
                                            RELAY_CONFIGURATION_PACKET, 4UL,
                                            &TxMailboxCanTask, CAN_RTR_DATA);
        break;
      default:
        break;
      }
      osDelay(10);
    }
  }
  /* USER CODE END StartCanDataTask */
}

void HAL_TIM_PeriodElapsedCallback(TIM_HandleTypeDef *htim) {
  if (htim->Instance == TIM1) {
    HAL_IncTick();
  }
}

void Error_Handler(void) {
  /* USER CODE BEGIN Error_Handler_Debug */
  /* User can add his own implementation to report the HAL error return state
   */
  __disable_irq();
  while (1) {
    HAL_GPIO_WritePin(GPIOB,
                      DSCHRGE_LED_Pin | RES_LED_Pin | MTR_LED_Pin | CAP_LED_Pin,
                      GPIO_PIN_RESET);
    HAL_Delay(100);
    HAL_GPIO_WritePin(GPIOB,
                      DSCHRGE_LED_Pin | RES_LED_Pin | MTR_LED_Pin | CAP_LED_Pin,
                      GPIO_PIN_SET);
    HAL_Delay(100);
  }
  /* USER CODE END Error_Handler_Debug */
}

#ifdef USE_FULL_ASSERT
/**
 * @brief  Reports the name of the source file and the source line number
 *         where the assert_param error has occurred.
 * @param  file: pointer to the source file name
 * @param  line: assert_param error line source number
 * @retval None
 */
void assert_failed(uint8_t *file, uint32_t line) {
  /* USER CODE BEGIN 6 */
  /* User can add his own implementation to report the file name and line
     number, ex: printf("Wrong parameters value: file %s on line %d\r\n",
     file, line) */
  /* USER CODE END 6 */
}
#endif /* USE_FULL_ASSERT */
